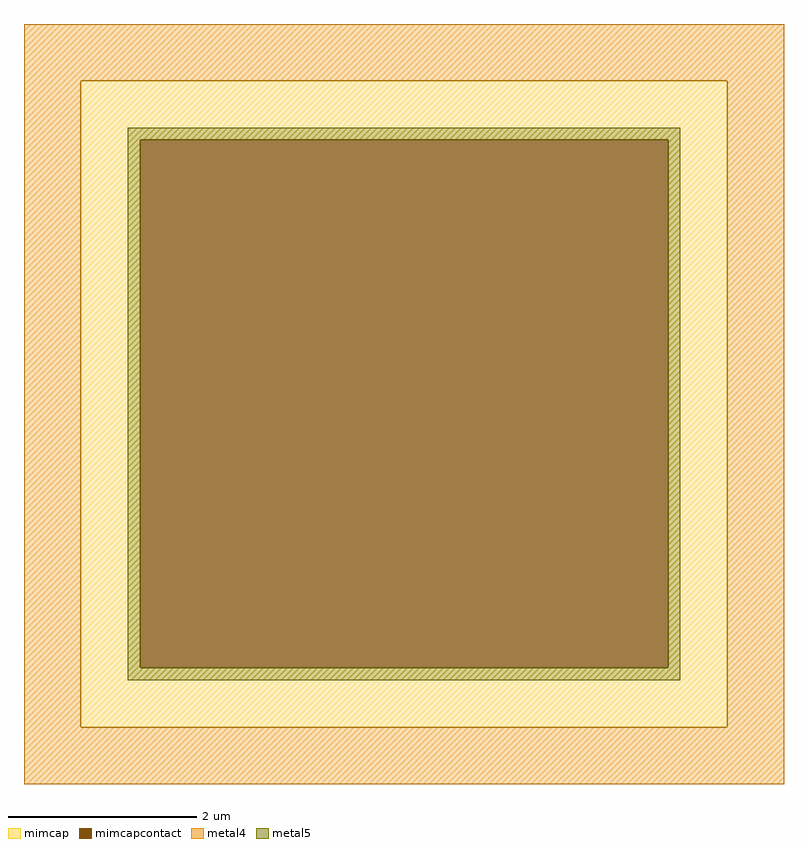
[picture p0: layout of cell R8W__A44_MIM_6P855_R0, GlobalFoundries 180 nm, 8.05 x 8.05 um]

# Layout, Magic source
magic
tech gf180mcuD
magscale 1 10
<< mimcap >>
rect 0 1246 1371 1371
rect 0 126 126 1246
rect 1246 126 1371 1246
rect 0 0 1371 126
<< mimcapcontact >>
rect 126 126 1246 1246
<< metal4 >>
rect -120 1371 1491 1491
rect -120 0 0 1371
rect 1371 0 1491 1371
rect -120 -120 1491 0
<< metal5 >>
rect 100 1246 1271 1271
rect 100 126 126 1246
rect 1246 126 1271 1246
rect 100 100 1271 126
<< properties >>
string GDS_END 91884
string GDS_FILE ../native_sources/A44_A_Q2_BEFORE_ESD.gds
string GDS_START 87464
<< end >>
